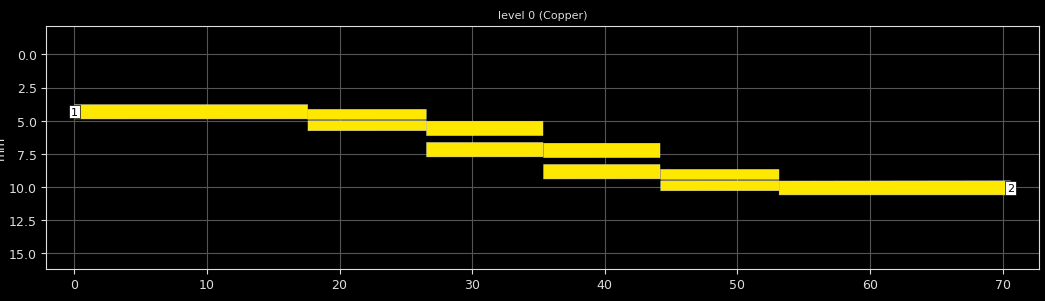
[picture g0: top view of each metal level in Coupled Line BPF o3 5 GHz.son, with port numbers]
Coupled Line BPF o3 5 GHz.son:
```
FTYP SONPROJ 19 ! Sonnet Project File
VER 18.53
HEADER
LIC SL65ec19c8
DAT 03/28/2024 17:47:38
BUILT_BY_CREATED example 18.53 10/19/2021 01:59:07
BUILT_BY_SAVED sonnet 18.53-Lite
MDATE 03/28/2024 17:47:38
HDATE 03/28/2024 17:47:38
END HEADER
DIM
ANG DEG
CAP PF
CON /OH
FREQ GHZ
IND NH
LNG MM
RES OH
END DIM
CONTROL
VARSWP
OPTIONS  -d
SPEED 0
CACHE_ABS 2
Q_ACC N
END CONTROL
GEO
DRP1 LEFT FIX 9.0805
DRP1 RIGHT FIX 9.398
DRP1 BOTTOM FIX 4.064
TMET "Free Space" 0 FREESPACE 376.7303136 0 0 0
BMET "Copper" 1 NOR 58000000 0.5 0.032 
MET "Copper" 1 NOR 58000000 0.5 0.032 
BOX 1 70.612 14.0335 2224 442 20 0
      10 1 1 0 0 0 2 "Air"
      0.508 3.55 1 0.0021 0 0 2 "RO4003C"
TECHLAY METAL Copper <UNSPECIFIED> -2 -65534 
0 0 0 N 543 1 1 100 100 0 0 0 Y
END
END
VALVAR W1 LNG 0.76 "Dim. Param."
VALVAR L1 LNG 8.93 "Dim. Param."
VALVAR L2 LNG 8.78 "Dim. Param."
VALVAR W2 LNG 1.09 "Dim. Param."
VALVAR S1 LNG 0.096 "Dim. Param."
VALVAR S2 LNG 0.4 "Dim. Param."
VALVAR S2_1 LNG 0.4 "Dim. Param. S2_1"
DIM STD YDIR -1
POS 4.917840297 -1.808250068
NOM 1.079
REF1 POLY 509 1
3
REF2 POLY 509 1
0
END
DIM STD YDIR -1
POS 4.917840297 -1.808250068
NOM 1.048
REF1 POLY 530 1
3
REF2 POLY 530 1
0
END
DIM STD YDIR 1
POS 0.3916110304 0.2812977306
NOM 0.1029999998
REF1 POLY 347 1
2
REF2 POLY 571 1
1
END
DIM STD YDIR 1
POS 0.7266290879 0.5594685943
NOM 0.5199999998
REF1 POLY 579 1
2
REF2 POLY 659 1
1
END
DIM STD YDIR 1
POS 0.7266290879 0.5594685943
NOM 0.52
REF1 POLY 665 1
2
REF2 POLY 664 1
1
END
DIM STD YDIR 1
POS 0.3916110304 0.2812977306
NOM 0.103
REF1 POLY 685 1
2
REF2 POLY 686 1
1
END
LORGN 0 14.0335 U 
POR1 BOX
POLY 509 1
3
1 50 0 0 0 -2.331468352e-15 4.3335 
POR1 BOX
POLY 530 1
1
2 50 0 0 0 70.612 10.07019133 
NUM 10
0 5 0 N 347 1 1 100 100 0 0 0 Y
TLAYNAM Copper INH
17.60125 4.146375
26.53125 4.146375
26.53125 4.901625
17.60125 4.906375
17.60125 4.146375
END
0 5 0 N 509 1 1 100 100 0 0 0 Y
TLAYNAM Copper INH
-2.331468352e-15 3.794
17.5895 3.794
17.5895 4.86925
-2.331468352e-15 4.873
-2.331468352e-15 3.794
END
0 5 0 N 530 1 1 100 100 0 0 0 Y
TLAYNAM Copper INH
53.15223658 9.55360001
70.612 9.53878265
70.612 10.60160001
53.1495 10.60160001
53.15223658 9.55360001
END
0 5 0 N 571 1 1 100 100 0 0 0 Y
TLAYNAM Copper INH
17.61366091 5.004625
26.54366091 5.004625
26.54366091 5.759875
17.61366091 5.764625
17.61366091 5.004625
END
0 5 0 N 579 1 1 100 100 0 0 0 Y
TLAYNAM Copper INH
26.55846641 5.040719165
35.33846641 5.040719165
35.33846641 6.125969165
26.55846641 6.130719165
26.55846641 5.040719165
END
0 5 0 N 659 1 1 100 100 0 0 0 Y
TLAYNAM Copper INH
26.55846641 6.645969165
35.33846641 6.645969165
35.33846641 7.731219165
26.55846641 7.735969165
26.55846641 6.645969165
END
0 5 0 N 664 1 1 100 100 0 0 0 Y
TLAYNAM Copper INH
35.38496641 8.306969165
44.16496641 8.306969165
44.16496641 9.392219165
35.38496641 9.396969165
35.38496641 8.306969165
END
0 5 0 N 665 1 1 100 100 0 0 0 Y
TLAYNAM Copper INH
35.38496641 6.701719165
44.16496641 6.701719165
44.16496641 7.786969165
35.38496641 7.791719165
35.38496641 6.701719165
END
0 5 0 N 685 1 1 100 100 0 0 0 Y
TLAYNAM Copper INH
44.20775 8.674875
53.13775 8.674875
53.13775 9.430125
44.20775 9.434875
44.20775 8.674875
END
0 5 0 N 686 1 1 100 100 0 0 0 Y
TLAYNAM Copper INH
44.22016091 9.533125
53.15016091 9.533125
53.15016091 10.288375
44.22016091 10.293125
44.22016091 9.533125
END
END GEO
OPT
MAX 100
END OPT
VARSWP
SWPVARS ON
ENABLED Y
FREQ Y AY ABS_ENTRY 2.0 8.0 -1 300 
VAR W2 N 0.68 0.71 0.01
VAR L2 N 9.08 9.08 UNDEF
VAR L2 N 8.93 8.93 UNDEF
VAR L1 N 8.93 8.93 UNDEF
VAR W1 N 0.76 0.76 UNDEF
END
END VARSWP
TRANSLATOR
END TRANSLATOR
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```
